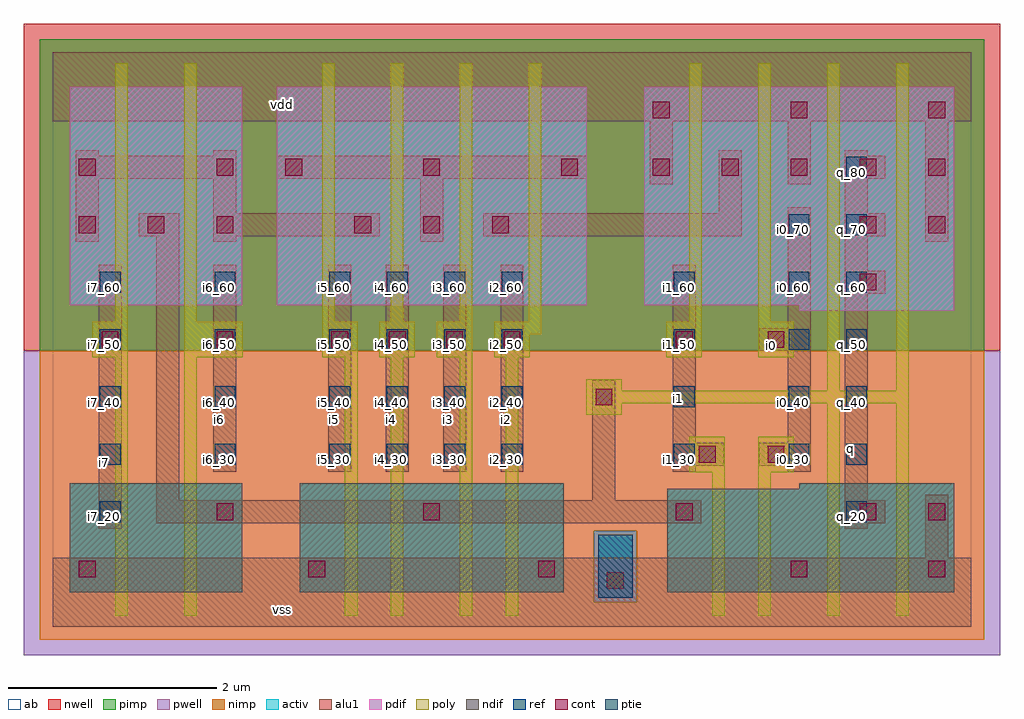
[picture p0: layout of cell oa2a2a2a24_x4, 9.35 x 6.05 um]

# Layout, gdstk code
import gdstk
lib = gdstk.Library(unit=1e-6, precision=2.5e-09)
def R(c, l, rs):  # rectangles x0, y0, x1, y1
    for r in rs: c.add(gdstk.rectangle(r[:2], r[2:], *l))
def A(c, l, x, y, w, h, nx, ny, dx, dy):  # array of equal rectangles
    R(c, l, [(x+i*dx, y+j*dy, x+i*dx+w, y+j*dy+h) for i in range(nx) for j in range(ny)])
ndif = (3, 0)
pdif = (4, 0)
ptie = (6, 0)
ref = (24, 0)
cont = (25, 0)
pwell = (41, 0)
nwell = (42, 0)
activ = (43, 0)
pimp = (44, 0)
nimp = (45, 0)
poly = (46, 0)
alu1 = (49, 0)
ab = (63, 0)

oa2a2a2a24_x4 = lib.new_cell('oa2a2a2a24_x4')
R(oa2a2a2a24_x4, ndif, [(0.165,0.33,1.815,1.375), (2.365,0.33,4.895,1.375), (5.885,0.33,8.635,1.32), (7.15,1.32,8.635,1.375)])
R(oa2a2a2a24_x4, pdif, [(7.15,3.025,8.635,3.08), (0.165,3.08,1.815,5.17), (2.145,3.08,5.115,5.17), (5.665,3.08,8.635,5.17)])
R(oa2a2a2a24_x4, ptie, [(5.225,0.275,5.555,0.88)])
A(oa2a2a2a24_x4, ref, 7.6, 1, 0.2, 0.2, 1, 7, 0, 0.55)
A(oa2a2a2a24_x4, ref, 0.45, 1.55, 0.2, 0.2, 3, 4, 1.1, 0.55)
A(oa2a2a2a24_x4, ref, 3.2, 1.55, 0.2, 0.2, 3, 4, 0.55, 0.55)
A(oa2a2a2a24_x4, ref, 5.95, 1.55, 0.2, 0.2, 1, 4, 0, 0.55)
A(oa2a2a2a24_x4, ref, 7.05, 1.55, 0.2, 0.2, 1, 5, 0, 0.55)
R(oa2a2a2a24_x4, ref, [(0.45,1,0.65,1.2)])
A(oa2a2a2a24_x4, cont, 0.25, 0.47, 0.16, 0.16, 3, 1, 2.2, 0)
A(oa2a2a2a24_x4, cont, 0.47, 2.67, 0.16, 0.16, 3, 1, 1.1, 0)
A(oa2a2a2a24_x4, cont, 3.22, 2.67, 0.16, 0.16, 3, 1, 0.55, 0)
A(oa2a2a2a24_x4, cont, 0.25, 3.77, 0.16, 0.16, 3, 1, 0.66, 0)
A(oa2a2a2a24_x4, cont, 2.89, 3.77, 0.16, 0.16, 3, 1, 0.66, 0)
A(oa2a2a2a24_x4, cont, 2.23, 4.32, 0.16, 0.16, 3, 1, 1.32, 0)
A(oa2a2a2a24_x4, cont, 5.75, 4.32, 0.16, 0.16, 5, 1, 0.66, 0)
A(oa2a2a2a24_x4, cont, 5.75, 4.87, 0.16, 0.16, 3, 1, 1.32, 0)
R(oa2a2a2a24_x4, cont, [(5.31,0.36,5.47,0.52), (7.07,0.47,7.23,0.63), (8.39,0.47,8.55,0.63), (1.57,1.02,1.73,1.18), (3.55,1.02,3.71,1.18), (5.97,1.02,6.13,1.18), (7.73,1.02,7.89,1.18), (8.39,1.02,8.55,1.18), (6.19,1.57,6.35,1.73), (6.85,1.57,7.01,1.73), (5.2,2.12,5.36,2.28), (5.97,2.67,6.13,2.83), (6.85,2.67,7.01,2.83), (7.73,3.22,7.89,3.38), (7.73,3.77,7.89,3.93), (8.39,3.77,8.55,3.93), (0.25,4.32,0.41,4.48), (1.57,4.32,1.73,4.48)])
R(oa2a2a2a24_x4, pwell, [(-0.275,-0.275,9.075,2.64)])
R(oa2a2a2a24_x4, nwell, [(-0.275,2.64,9.075,5.775)])
R(oa2a2a2a24_x4, activ, [(5.225,0.275,5.555,0.88), (0.165,0.33,1.815,1.375), (2.365,0.33,4.895,1.375), (5.885,0.33,8.635,1.32), (7.15,1.32,8.635,1.375), (7.15,3.025,8.635,3.08), (0.165,3.08,1.815,5.17), (2.145,3.08,5.115,5.17), (5.665,3.08,8.635,5.17)])
R(oa2a2a2a24_x4, pimp, [(5.185,0.235,5.595,0.92), (-0.125,2.64,8.925,5.625)])
R(oa2a2a2a24_x4, nimp, [(-0.125,-0.125,8.925,0.235), (-0.125,0.235,5.185,0.92), (5.595,0.235,8.925,0.92), (-0.125,0.92,8.925,2.64)])
A(oa2a2a2a24_x4, poly, 2.58, 2.58, 0.34, 0.34, 3, 1, 0.55, 0)
A(oa2a2a2a24_x4, poly, 2.58, 2.92, 0.12, 2.475, 4, 1, 0.66, 0)
R(oa2a2a2a24_x4, poly, [(0.6,0.105,0.72,2.58), (1.26,0.105,1.38,2.58), (2.8,0.105,2.92,2.58), (3.24,0.105,3.36,2.58), (3.9,0.105,4.02,2.58), (4.34,0.105,4.46,2.58), (6.32,0.105,6.44,1.48), (6.76,0.105,6.88,1.48), (7.42,0.105,7.54,2.14), (8.08,0.105,8.2,2.14), (6.1,1.48,6.44,1.82), (6.76,1.48,7.1,1.82), (5.11,2.03,5.45,2.14), (5.11,2.14,8.2,2.26), (5.11,2.26,5.45,2.37), (7.42,2.26,7.54,5.395), (8.08,2.26,8.2,5.395), (0.38,2.58,0.72,2.92), (1.26,2.58,1.82,2.92), (4.23,2.58,4.57,2.8), (5.88,2.58,6.22,2.92), (6.76,2.58,7.1,2.92), (4.23,2.8,4.68,2.92), (0.6,2.92,0.72,5.395), (1.26,2.92,1.38,5.395), (6.1,2.92,6.22,5.395), (6.76,2.92,6.88,5.395)])
A(oa2a2a2a24_x4, alu1, 2.64, 1.485, 0.22, 1.98, 4, 1, 0.55, 0)
A(oa2a2a2a24_x4, alu1, 7.59, 3.19, 0.385, 0.22, 1, 3, 0, 0.55)
R(oa2a2a2a24_x4, alu1, [(0,0,8.8,0.66), (8.36,0.66,8.58,1.265), (0.44,0.935,0.66,3.465), (7.59,0.935,7.81,0.99), (0.99,0.99,6.215,1.21), (7.59,0.99,7.975,1.21), (0.99,1.21,1.21,3.74), (5.17,1.21,5.39,2.365), (7.59,1.21,7.81,3.19), (1.54,1.485,1.76,3.465), (5.94,1.485,6.16,1.54), (7.04,1.485,7.26,1.54), (5.94,1.54,6.435,1.76), (6.765,1.54,7.26,1.76), (5.94,1.76,6.16,3.465), (7.04,1.76,7.26,2.64), (6.765,2.64,7.26,2.86), (7.04,2.86,7.26,4.015), (7.59,3.41,7.81,3.74), (0.22,3.685,0.44,4.29), (1.54,3.685,1.76,3.74), (3.52,3.685,3.74,4.29), (8.36,3.685,8.58,4.84), (0.825,3.74,1.21,3.96), (1.54,3.74,3.135,3.96), (4.125,3.74,6.6,3.96), (1.54,3.96,1.76,4.29), (6.38,3.96,6.6,4.565), (7.59,3.96,7.81,4.29), (5.72,4.235,5.94,4.84), (7.04,4.235,7.26,4.84), (0.22,4.29,1.76,4.51), (2.145,4.29,5.115,4.51), (0.22,4.51,0.44,4.565), (1.54,4.51,1.76,4.565), (7.59,4.51,7.81,4.565), (0,4.84,8.8,5.5)])
R(oa2a2a2a24_x4, ab, [(0,0,8.8,5.5)])
oa2a2a2a24_x4.add(gdstk.Label('vss', (2.2,0.165), layer=49, texttype=0))
oa2a2a2a24_x4.add(gdstk.Label('q', (7.645,1.705), layer=49, texttype=0))
oa2a2a2a24_x4.add(gdstk.Label('i0', (6.8875,2.695), layer=49, texttype=0))
oa2a2a2a24_x4.add(gdstk.Label('i1', (5.995,2.185), layer=49, texttype=0))
oa2a2a2a24_x4.add(gdstk.Label('i2', (4.345,1.98), layer=49, texttype=0))
oa2a2a2a24_x4.add(gdstk.Label('i3', (3.795,1.98), layer=49, texttype=0))
oa2a2a2a24_x4.add(gdstk.Label('i4', (3.245,1.98), layer=49, texttype=0))
oa2a2a2a24_x4.add(gdstk.Label('i5', (2.695,1.98), layer=49, texttype=0))
oa2a2a2a24_x4.add(gdstk.Label('i6', (1.595,1.98), layer=49, texttype=0))
oa2a2a2a24_x4.add(gdstk.Label('i7', (0.495,1.5675), layer=49, texttype=0))
oa2a2a2a24_x4.add(gdstk.Label('vdd', (2.2,5.005), layer=49, texttype=0))
oa2a2a2a24_x4.add(gdstk.Label('i0_70', (7.1,3.8), layer=24, texttype=0))
oa2a2a2a24_x4.add(gdstk.Label('i1_40', (6,2.15), layer=24, texttype=0))
oa2a2a2a24_x4.add(gdstk.Label('i1_50', (6,2.7), layer=24, texttype=0))
oa2a2a2a24_x4.add(gdstk.Label('i1_60', (6,3.25), layer=24, texttype=0))
oa2a2a2a24_x4.add(gdstk.Label('i1_30', (6,1.6), layer=24, texttype=0))
oa2a2a2a24_x4.add(gdstk.Label('i0_30', (7.1,1.6), layer=24, texttype=0))
oa2a2a2a24_x4.add(gdstk.Label('i0_40', (7.1,2.15), layer=24, texttype=0))
oa2a2a2a24_x4.add(gdstk.Label('i0_50', (7.1,2.7), layer=24, texttype=0))
oa2a2a2a24_x4.add(gdstk.Label('i0_60', (7.1,3.25), layer=24, texttype=0))
oa2a2a2a24_x4.add(gdstk.Label('q_20', (7.65,1.05), layer=24, texttype=0))
oa2a2a2a24_x4.add(gdstk.Label('q_80', (7.65,4.35), layer=24, texttype=0))
oa2a2a2a24_x4.add(gdstk.Label('q_40', (7.65,2.15), layer=24, texttype=0))
oa2a2a2a24_x4.add(gdstk.Label('q_30', (7.65,1.6), layer=24, texttype=0))
oa2a2a2a24_x4.add(gdstk.Label('q_70', (7.65,3.8), layer=24, texttype=0))
oa2a2a2a24_x4.add(gdstk.Label('q_60', (7.65,3.25), layer=24, texttype=0))
oa2a2a2a24_x4.add(gdstk.Label('q_50', (7.65,2.7), layer=24, texttype=0))
oa2a2a2a24_x4.add(gdstk.Label('i7_20', (0.5,1.05), layer=24, texttype=0))
oa2a2a2a24_x4.add(gdstk.Label('i7_30', (0.5,1.6), layer=24, texttype=0))
oa2a2a2a24_x4.add(gdstk.Label('i7_40', (0.5,2.15), layer=24, texttype=0))
oa2a2a2a24_x4.add(gdstk.Label('i7_50', (0.5,2.7), layer=24, texttype=0))
oa2a2a2a24_x4.add(gdstk.Label('i7_60', (0.5,3.25), layer=24, texttype=0))
oa2a2a2a24_x4.add(gdstk.Label('i6_30', (1.6,1.6), layer=24, texttype=0))
oa2a2a2a24_x4.add(gdstk.Label('i6_40', (1.6,2.15), layer=24, texttype=0))
oa2a2a2a24_x4.add(gdstk.Label('i6_50', (1.6,2.7), layer=24, texttype=0))
oa2a2a2a24_x4.add(gdstk.Label('i6_60', (1.6,3.25), layer=24, texttype=0))
oa2a2a2a24_x4.add(gdstk.Label('i5_30', (2.7,1.6), layer=24, texttype=0))
oa2a2a2a24_x4.add(gdstk.Label('i5_40', (2.7,2.15), layer=24, texttype=0))
oa2a2a2a24_x4.add(gdstk.Label('i5_50', (2.7,2.7), layer=24, texttype=0))
oa2a2a2a24_x4.add(gdstk.Label('i5_60', (2.7,3.25), layer=24, texttype=0))
oa2a2a2a24_x4.add(gdstk.Label('i4_30', (3.25,1.6), layer=24, texttype=0))
oa2a2a2a24_x4.add(gdstk.Label('i4_40', (3.25,2.15), layer=24, texttype=0))
oa2a2a2a24_x4.add(gdstk.Label('i4_50', (3.25,2.7), layer=24, texttype=0))
oa2a2a2a24_x4.add(gdstk.Label('i4_60', (3.25,3.25), layer=24, texttype=0))
oa2a2a2a24_x4.add(gdstk.Label('i3_30', (3.8,1.6), layer=24, texttype=0))
oa2a2a2a24_x4.add(gdstk.Label('i3_40', (3.8,2.15), layer=24, texttype=0))
oa2a2a2a24_x4.add(gdstk.Label('i3_50', (3.8,2.7), layer=24, texttype=0))
oa2a2a2a24_x4.add(gdstk.Label('i3_60', (3.8,3.25), layer=24, texttype=0))
oa2a2a2a24_x4.add(gdstk.Label('i2_30', (4.35,1.6), layer=24, texttype=0))
oa2a2a2a24_x4.add(gdstk.Label('i2_40', (4.35,2.15), layer=24, texttype=0))
oa2a2a2a24_x4.add(gdstk.Label('i2_50', (4.35,2.7), layer=24, texttype=0))
oa2a2a2a24_x4.add(gdstk.Label('i2_60', (4.35,3.25), layer=24, texttype=0))

lib.write_gds('oa2a2a2a24_x4.gds')
